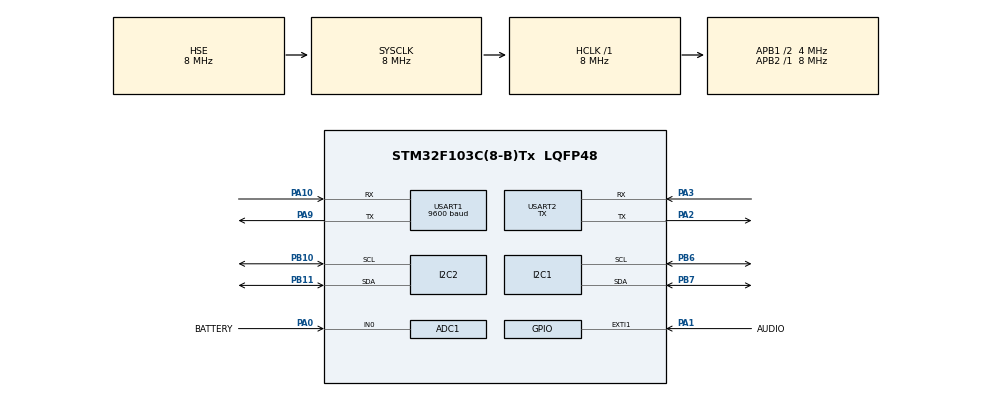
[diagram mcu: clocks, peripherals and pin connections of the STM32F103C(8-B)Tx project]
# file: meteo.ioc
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ADC1.ContinuousConvMode=DISABLE
ADC1.DataAlign=ADC_DATAALIGN_RIGHT
ADC1.DiscontinuousConvMode=DISABLE
ADC1.EnableRegularConversion=DISABLE
ADC1.InjNumberOfConversion=0
ADC1.ScanConvMode=ADC_SCAN_DISABLE
ADC1.master=1
Dma.I2C1_TX.0.Direction=DMA_MEMORY_TO_PERIPH
Dma.I2C1_TX.0.Instance=DMA1_Channel6
Dma.I2C1_TX.0.MemDataAlignment=DMA_MDATAALIGN_BYTE
Dma.I2C1_TX.0.MemInc=DMA_MINC_ENABLE
Dma.I2C1_TX.0.Mode=DMA_NORMAL
Dma.I2C1_TX.0.PeriphDataAlignment=DMA_PDATAALIGN_BYTE
Dma.I2C1_TX.0.PeriphInc=DMA_PINC_DISABLE
Dma.I2C1_TX.0.Priority=DMA_PRIORITY_VERY_HIGH
Dma.I2C2_TX.1.Direction=DMA_MEMORY_TO_PERIPH
Dma.I2C2_TX.1.Instance=DMA1_Channel4
Dma.I2C2_TX.1.MemDataAlignment=DMA_MDATAALIGN_BYTE
Dma.I2C2_TX.1.MemInc=DMA_MINC_ENABLE
Dma.I2C2_TX.1.Mode=DMA_NORMAL
Dma.I2C2_TX.1.PeriphDataAlignment=DMA_PDATAALIGN_BYTE
Dma.I2C2_TX.1.PeriphInc=DMA_PINC_DISABLE
Dma.I2C2_TX.1.Priority=DMA_PRIORITY_VERY_HIGH
Dma.Request0=I2C1_TX
Dma.Request1=I2C2_TX
I2C1.I2C_Mode=I2C_Fast
I2C2.I2C_Mode=I2C_Standard
IWDG.Prescaler=IWDG_PRESCALER_256
Mcu.Family=STM32F1
Mcu.Name=STM32F103C(8-B)Tx
Mcu.Package=LQFP48
NVIC.DMA1_Channel4_IRQn=true\:1\:0\:true\:false\:true
NVIC.DMA1_Channel6_IRQn=true\:1\:0\:true\:false\:true
NVIC.EXTI1_IRQn=true\:3\:0\:true\:false\:true
NVIC.PriorityGroup=NVIC_PRIORITYGROUP_2
NVIC.RTC_Alarm_IRQn=true\:0\:0\:false\:false\:true
PA0-WKUP.GPIO_Label=BATTERY
PA0-WKUP.Signal=ADCx_IN0
PA1.GPIO_Label=AUDIO
PA1.GPIO_ModeDefaultEXTI=GPIO_MODE_IT_RISING
PA1.GPIO_PuPd=GPIO_PULLDOWN
PA1.Signal=GPXTI1
PA10.Mode=Asynchronous
PA10.Signal=USART1_RX
PA13.Mode=Serial_Wire
PA13.Signal=SYS_JTMS-SWDIO
PA14.Mode=Serial_Wire
PA14.Signal=SYS_JTCK-SWCLK
PA2.Mode=Asynchronous
PA2.Signal=USART2_TX
PA3.Mode=Asynchronous
PA3.Signal=USART2_RX
PA9.Mode=Asynchronous
PA9.Signal=USART1_TX
PB10.Mode=I2C
PB10.Signal=I2C2_SCL
PB11.Mode=I2C
PB11.Signal=I2C2_SDA
PB6.Mode=I2C
PB6.Signal=I2C1_SCL
PB7.Mode=I2C
PB7.Signal=I2C1_SDA
PD0-OSC_IN.Mode=HSE-External-Oscillator
PD0-OSC_IN.Signal=RCC_OSC_IN
PD1-OSC_OUT.Mode=HSE-External-Oscillator
PD1-OSC_OUT.Signal=RCC_OSC_OUT
ProjectManager.HeapSize=0x200
ProjectManager.StackSize=0x400
ProjectManager.TargetToolchain=SW4STM32
RCC.ADCPresc=RCC_ADCPCLK2_DIV8
RCC.AHBFreq_Value=8000000
RCC.APB1CLKDivider=RCC_HCLK_DIV2
RCC.APB1Freq_Value=4000000
RCC.APB1TimFreq_Value=8000000
RCC.APB2Freq_Value=8000000
RCC.APB2TimFreq_Value=8000000
RCC.HCLKFreq_Value=8000000
RCC.HSIState=RCC_HSI_ON
RCC.PLLSourceVirtual=RCC_PLLSOURCE_HSE
RCC.RTCClockSelection=RCC_RTCCLKSOURCE_HSE_DIV128
RCC.SYSCLKFreq_VALUE=8000000
RCC.SYSCLKSource=RCC_SYSCLKSOURCE_HSE
RCC.USBFreq_Value=16000000
SH.ADCx_IN0.0=ADC1_IN0,IN0
USART1.BaudRate=9600
USART1.Mode=MODE_TX_RX
USART2.Mode=MODE_TX
VP_IWDG_VS_IWDG.Mode=IWDG_Activate
VP_RTC_No_RTC_Output.Mode=RTC_OUT_NO
VP_RTC_VS_RTC_Activate.Mode=RTC_Enabled
VP_RTC_VS_RTC_Calendar.Mode=RTC_Calendar
board=meteo

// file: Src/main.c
/**
  ******************************************************************************
  * File Name          : main.c
  * Description        : Main program body
  ******************************************************************************
  *
  * COPYRIGHT(c) 2016 STMicroelectronics
  *
  * Redistribution and use in source and binary forms, with or without modification,
  * are permitted provided that the following conditions are met:
  *   1. Redistributions of source code must retain the above copyright notice,
  *      this list of conditions and the following disclaimer.
  *   2. Redistributions in binary form must reproduce the above copyright notice,
  *      this list of conditions and the following disclaimer in the documentation
  *      and/or other materials provided with the distribution.
  *   3. Neither the name of STMicroelectronics nor the names of its contributors
  *      may be used to endorse or promote products derived from this software
  *      without specific prior written permission.
  *
  * THIS SOFTWARE IS PROVIDED BY THE COPYRIGHT HOLDERS AND CONTRIBUTORS "AS IS"
  * AND ANY EXPRESS OR IMPLIED WARRANTIES, INCLUDING, BUT NOT LIMITED TO, THE
  * IMPLIED WARRANTIES OF MERCHANTABILITY AND FITNESS FOR A PARTICULAR PURPOSE ARE
  * DISCLAIMED. IN NO EVENT SHALL THE COPYRIGHT HOLDER OR CONTRIBUTORS BE LIABLE
  * FOR ANY DIRECT, INDIRECT, INCIDENTAL, SPECIAL, EXEMPLARY, OR CONSEQUENTIAL
  * DAMAGES (INCLUDING, BUT NOT LIMITED TO, PROCUREMENT OF SUBSTITUTE GOODS OR
  * SERVICES; LOSS OF USE, DATA, OR PROFITS; OR BUSINESS INTERRUPTION) HOWEVER
  * CAUSED AND ON ANY THEORY OF LIABILITY, WHETHER IN CONTRACT, STRICT LIABILITY,
  * OR TORT (INCLUDING NEGLIGENCE OR OTHERWISE) ARISING IN ANY WAY OUT OF THE USE
  * OF THIS SOFTWARE, EVEN IF ADVISED OF THE POSSIBILITY OF SUCH DAMAGE.
  *
  ******************************************************************************
  */
#include "main.h"
#include "stm32f1xx_hal.h"
#include "adc.h"
#include "dma.h"
#include "i2c.h"
#include "iwdg.h"
#include "rtc.h"
#include "usart.h"
#include "gpio.h"

/* USER CODE BEGIN Includes */

#include <math.h>
#include "ssd1306/ssd1306.h"
#include "ssd1306/fonts.h"
#include "ssd1306/images.h"
#include "BMP280/bmp280.h"
#include "HTU21/htu21.h"
#include "MHZ19/mhz19.h"

/* USER CODE END Includes */

/* USER CODE BEGIN PV */
/* Private variables ---------------------------------------------------------*/
#define slog(msg) \
		{ /*printf("info: %s\n", msg);*/ }

#define elog(msg) \
		{ printf("error: %s\n", msg); }

#define NELEMS(x)  (sizeof(x) / sizeof((x)[0]))
#define MIN(a,b)   (((a)<(b))?(a):(b))
#define MAX(a,b)   (((a)>(b))?(a):(b))
#define PA2mmHG(p) (((float) (p) * 760 / 101325))

#define BUFF_LEN          (32)

#define MAIN_LOOP_DELAY           (2)

#define SHOW_LOGO_DELAY           (4)
#define SHOW_MEASUREMENTS_DELAY   (8)
#define SHOW_BATTERY_STATUS_DELAY (2)

#define MEASUREMENTS_ACTIVE_DELAY (2)
#define MEASUREMENTS_SLEEP_DELAY  (20)

#define STATE_ACTIVE_DELAY        (30)
#define STATE_SLEEP_DELAY         (10*60)

#define HIDE_SCREEN_DELAY         (20)

// Max ADC value ~ voltage
#define ADC_TO_VOLTAGE_BASE (4.95f)
#define BATTERY_MAX_VOLTAGE (4.1f)
#define BATTERY_MIN_VOLTAGE (2.8f)

// Segments
#define LED_SEGMENT_WIDTH (SSD1306_WIDTH / 2)

struct bmp280_t BMP280;

char buffer[BUFF_LEN] = {};

int audio_activation = 0;

typedef enum { ACTIVE, SLEEP } State;
typedef enum { LOGO, MEASUREMENTS, BATTERY, HIDE } Screen;

/* USER CODE END PV */

void SystemClock_Config(void);
void Error_Handler(void);

/* USER CODE BEGIN PFP */
/* Private function prototypes -----------------------------------------------*/

/*	\Brief: The function is used as I2C bus read
 *	\Return : Status of the I2C read
 *	\param dev_addr : The device address of the sensor
 *	\param reg_addr : Address of the first register, where data is going to be read
 *	\param reg_data : This is the data read from the sensor, which is held in an array
 *	\param cnt : The no of bytes of data to be read
 */
s8 BMP280_I2C_bus_read(u8 dev_addr, u8 reg_addr, u8 *reg_data, u8 cnt);
 /*	\Brief: The function is used as I2C bus write
 *	\Return : Status of the I2C write
 *	\param dev_addr : The device address of the sensor
 *	\param reg_addr : Address of the first register, where data is to be written
 *	\param reg_data : It is a value held in the array,
 *		which is written in the register
 *	\param cnt : The no of bytes of data to be written
 */
s8 BMP280_I2C_bus_write(u8 dev_addr, u8 reg_addr, u8 *reg_data, u8 cnt);

/*
 * \Brief: SPI/I2C init routine
*/
s8 I2C_routine(void);

/*	Brief : The delay routine
 *	\param : delay in ms
*/
void BMP280_delay_msek(u32 msek);

/* USER CODE END PFP */

/* USER CODE BEGIN 0 */
void HAL_GPIO_EXTI_Callback(uint16_t GPIO_Pin){
	if(GPIO_Pin == AUDIO_Pin){
		audio_activation++;
	}
}

void HAL_RTC_AlarmAEventCallback(RTC_HandleTypeDef *hrtc)
{
	HAL_RTC_DeactivateAlarm(hrtc, RTC_ALARM_A);
}

uint32_t RTC_To_Timestamp(RTC_TimeTypeDef *time) {
	/* Convert time in seconds */
	return (uint32_t)(((uint32_t)time->Hours * 3600) +
			((uint32_t)time->Minutes * 60) +
			((uint32_t)time->Seconds));
}

void Timestamp_To_RTC(uint32_t timestamp, RTC_TimeTypeDef *time) {
	/* Fill the structure fields with the read parameters */
	time->Hours = timestamp / 3600;
	time->Minutes  = (uint8_t)((timestamp % 3600) / 60);
	time->Seconds  = (uint8_t)((timestamp % 3600) % 60);
}

uint32_t RTC_GetTimestamp() {
	RTC_TimeTypeDef time;
	if (HAL_RTC_GetTime(&hrtc, &time, RTC_FORMAT_BIN) != HAL_OK) {
		return 0;
	}

	return RTC_To_Timestamp(&time);
}

void sleep(uint32_t delay) {
	RTC_AlarmTypeDef alarm;
	alarm.Alarm = RTC_ALARM_A;

	Timestamp_To_RTC(RTC_GetTimestamp() + delay - 1, &alarm.AlarmTime);

	if (HAL_RTC_SetAlarm_IT(&hrtc, &alarm, FORMAT_BIN) == HAL_OK) {
		HAL_SuspendTick();
		HAL_PWR_EnterSLEEPMode(PWR_MAINREGULATOR_ON, PWR_SLEEPENTRY_WFI);
		HAL_ResumeTick();
	} else {
		HAL_Delay(delay * 1000);
	}
}

float getBatteryVoltage() {

	if (HAL_ADC_Start(&hadc1) != HAL_OK) {
		elog("ADC start fail");

		return 0.0;
	}

	if (HAL_ADC_PollForConversion(&hadc1, 100) != HAL_OK) {
		elog("ADC poll for conversion fail");
	}

	uint32_t value = HAL_ADC_GetValue(&hadc1);

	if (HAL_ADC_Stop(&hadc1) != HAL_OK) {
		elog("ADC stop fail");
	}

	// (0 to 4095) 0x00 ... 0x0FFF
//	printf("ADC1: (0 to 4095)  %lu \n", value);

	return (float) ADC_TO_VOLTAGE_BASE * value / 0x0FFF;
}

int getBatteryCharge(float voltage) {

	int charge = rintf((voltage - BATTERY_MIN_VOLTAGE) * 100.0f / (BATTERY_MAX_VOLTAGE - BATTERY_MIN_VOLTAGE));

	if (charge > 100) {
		charge = 100;
	} else if (charge < 0) {
		charge = 0;
	}

	return charge;
}

void showLogo() {
	slog("Show logo");

	SSD1306_Fill(SSD1306_COLOR_BLACK);

	ssd1306_image(logo, 0, 0, 0);

	SSD1306_UpdateScreen();
}

void showBatteryCharge(int charge) {
	slog("Show battery charge");

	SSD1306_Fill(SSD1306_COLOR_BLACK);

	ssd1306_image(battery, 0, 0, 0);

	for (int i = 0; i < charge / 10; i++) {
		ssd1306_image(battery_point, 0, 16 + i * 9, 13);
	}

	snprintf(buffer, BUFF_LEN, "%d%%", charge);
	int messageWidth = strlen(buffer) * Font_10x16.FontWidth;

	int shiftX = (SSD1306_WIDTH - messageWidth * 1.2) / 2;
	int shiftY = (SSD1306_HEIGHT - Font_10x16.FontHeight * 1.2) / 2;
	SSD1306_DrawFilledRectangle(shiftX, shiftY,
			messageWidth * 1.2, Font_10x16.FontHeight * 1.2, SSD1306_COLOR_BLACK);

	shiftX = (SSD1306_WIDTH - messageWidth) / 2;
	shiftY = (SSD1306_HEIGHT - Font_10x16.FontHeight) / 2;
	SSD1306_GotoXY(shiftX, shiftY);
	SSD1306_Puts(buffer, &Font_10x16, SSD1306_COLOR_WHITE);

	SSD1306_UpdateScreen();
}

void showMeasurements(float temperature, float humidity, float pressure, uint16_t co2_ppm) {
	slog("Show measurements");

	SSD1306_Fill(SSD1306_COLOR_BLACK);

	SSD1306_GotoXY(0, Font_7x10.FontHeight * 0);
	SSD1306_Puts("   темп    волог", &Font_7x10, SSD1306_COLOR_WHITE);

	snprintf(buffer, BUFF_LEN, "%.1f%cС", temperature, 176);
	int shift = (LED_SEGMENT_WIDTH - strlen(buffer) * Font_10x16.FontWidth) / 2;
	SSD1306_GotoXY(shift, Font_7x10.FontHeight * 1 + 3);
	SSD1306_Puts(buffer, &Font_10x16, SSD1306_COLOR_WHITE);

	snprintf(buffer, BUFF_LEN, "%.1f%%", humidity);
	shift = (LED_SEGMENT_WIDTH - strlen(buffer) * Font_10x16.FontWidth) / 2;
	SSD1306_GotoXY(shift + LED_SEGMENT_WIDTH, Font_7x10.FontHeight * 1 + 3);
	SSD1306_Puts(buffer, &Font_10x16, SSD1306_COLOR_WHITE);

	char *header1 = "   тиск   CO";
	char *header2 = " ppm";
	SSD1306_GotoXY(0, Font_7x10.FontHeight * 3 + 3);
	SSD1306_Puts(header1, &Font_7x10, SSD1306_COLOR_WHITE);
	SSD1306_Puts(header2, &Font_7x10, SSD1306_COLOR_WHITE);
	SSD1306_GotoXY(Font_7x10.FontWidth * strlen(header1), Font_7x10.FontHeight * 3 + Font_4x6.FontHeight / 2 + 3);
	SSD1306_Puts("2 ", &Font_4x6, SSD1306_COLOR_WHITE);

	snprintf(buffer, BUFF_LEN, "%.1f", PA2mmHG(pressure));
	shift = (LED_SEGMENT_WIDTH - strlen(buffer) * Font_10x16.FontWidth) / 2;
	SSD1306_GotoXY(shift, Font_7x10.FontHeight * 4 + 6);
	SSD1306_Puts(buffer, &Font_10x16, SSD1306_COLOR_WHITE);

	snprintf(buffer, BUFF_LEN, "%d", co2_ppm);
	shift = (LED_SEGMENT_WIDTH - strlen(buffer) * Font_10x16.FontWidth) / 2;
	SSD1306_GotoXY(shift + LED_SEGMENT_WIDTH, Font_7x10.FontHeight * 4 + 6);
	SSD1306_Puts(buffer, &Font_10x16, SSD1306_COLOR_WHITE);

	SSD1306_UpdateScreen();
}

void updateMeasurements(float *temperature, float *humidity, float *pressure, uint16_t *co2_ppm) {
	slog("Update measurements");

	if (htu21_temperature(temperature) != 0) {
		elog("HTU21 read temperature failed");
	}
	if (htu21_humidity(humidity) != 0) {
		elog("HTU21 read humidity failed");
	}

	s32 temp;
	if (bmp280_read_uncomp_pressure(&temp) != 0) {
		elog("BMP280 read uncomp pressure failed");
	}
	*pressure = bmp280_compensate_pressure_double(temp);

	if (mhz19_get(co2_ppm) != 0) {
		elog("MHT19 get gas concentration failed");
	}
}

void setScreenState(Screen screen) {

}

/* USER CODE END 0 */

int main(void)
{

  /* MCU Configuration----------------------------------------------------------*/

  /* Reset of all peripherals, Initializes the Flash interface and the Systick. */
  HAL_Init();

  /* Configure the system clock */
  SystemClock_Config();

  /* Initialize all configured peripherals */
  MX_GPIO_Init();
  MX_DMA_Init();
  MX_I2C1_Init();
  MX_USART1_UART_Init();
  MX_I2C2_Init();
  MX_USART2_UART_Init();
  MX_RTC_Init();
  MX_IWDG_Init();
  MX_ADC1_Init();

  /* USER CODE BEGIN 2 */
	/**
	* SSD1306
	*/
	SSD1306_Init();

	/**
	* HTU21
	*/
	float humidity = 0.0f;
	float temperature = 0.0f;

	if (htu21_reset() != 0) {
		elog("HTU21 reset fail");
	}

	/**
	* BMP280
	*/
	float pressure = 0.0f;

	I2C_routine();

	bmp280_set_soft_rst();

	if (bmp280_init(&BMP280) != 0) {
		elog("BMP280 init failed");
	}

	/*	For initialization it is required to set the mode of
	 *	the sensor as "NORMAL"
	 *	data acquisition/read/write is possible in this mode
	 *	by using the below API able to set the power mode as NORMAL*/
	/* Set the power mode as NORMAL*/
	if (bmp280_set_power_mode(BMP280_NORMAL_MODE) != 0) {
		elog("BMP280 set NORMAL mode failed");
	}

	/*	For reading the pressure and temperature data it is required to
	 *	set the work mode
	 *	The measurement period in the Normal mode is depends on the setting of
	 *	over sampling setting of pressure, temperature and standby time
	 *
	 *	OSS				pressure OSS	temperature OSS
	 *	ultra low power			x1			x1
	 *	low power			x2			x1
	 *	standard resolution		x4			x1
	 *	high resolution			x8			x2
	 *	ultra high resolution		x16			x2
	 */
	/* The oversampling settings are set by using the following API*/
	if (bmp280_set_work_mode(BMP280_ULTRA_HIGH_RESOLUTION_MODE) != 0) {
		elog("BMP280 ULTRA_HIGH_RESOLUTION work mode failed");
	}

	HAL_Delay(100);

	if (bmp280_set_work_mode(BMP280_STANDARD_RESOLUTION_MODE) != 0) {
		elog("BMP280 STANDARD_RESOLUTION work mode failed");
	}

	/**
	 * MH-Z19
	 */
	uint16_t co2_ppm = 0;

	/**
	* ADC (battery)
	*/
	if (HAL_ADCEx_Calibration_Start(&hadc1) != HAL_OK) {
		elog("ADC calibration fail");
	}

	printf("Battery voltage: %1.2fv \n", getBatteryVoltage());

	/**
	 * For battery voltage calibration
	 */
//	while(1) {
//		float voltage = getBatteryVoltage();
//
//		printf("Battery voltage: %1.2fv \n", voltage);
//
//		HAL_Delay(200);
//	}

	/**
	 * Watch DOG
	 */
	HAL_IWDG_Start(&hiwdg);

  /* USER CODE END 2 */

  /* Infinite loop */
  /* USER CODE BEGIN WHILE */

	State state = ACTIVE;
	Screen screen = LOGO;

	uint32_t nextScreenUpdateTimestamp = RTC_GetTimestamp() + SHOW_LOGO_DELAY;
	uint32_t nextMeasurementTimestamp = 0;
	uint32_t nextStateUpdateTimestamp = RTC_GetTimestamp() + STATE_ACTIVE_DELAY;

	int screen_is_on = 0;
	audio_activation = 0;

  while (1)
  {
  /* USER CODE END WHILE */

  /* USER CODE BEGIN 3 */
//    printf("\n[%d] %lu %lu\n", __LINE__, HAL_GetTick(), RTC_GetTimestamp());

    uint32_t timestamp = RTC_GetTimestamp();

    /**
     * State
     */
	if (audio_activation) {
		slog("Audio activation");

		audio_activation = 0;

		state = ACTIVE;
		nextStateUpdateTimestamp = timestamp + STATE_ACTIVE_DELAY;

		if (screen == HIDE) {
			screen = MEASUREMENTS;
			nextScreenUpdateTimestamp = timestamp + SHOW_MEASUREMENTS_DELAY;
			nextMeasurementTimestamp = 0;
		}
	}

    if (timestamp >= nextStateUpdateTimestamp) {
		switch(state) {
		case ACTIVE:
			slog("Time to go sleep");

			state = SLEEP;
			screen = HIDE;
			nextStateUpdateTimestamp = timestamp + STATE_SLEEP_DELAY;
			break;

		case SLEEP:
			slog("Time to show me");

			state = ACTIVE;
			nextStateUpdateTimestamp = timestamp + STATE_ACTIVE_DELAY;

			if (screen == HIDE) {
				screen = MEASUREMENTS;
				nextScreenUpdateTimestamp = timestamp + SHOW_MEASUREMENTS_DELAY;
			}
			break;
		}
    }

    /**
     * Measurements
     */
    if (timestamp >= nextMeasurementTimestamp) {
    	updateMeasurements(&temperature, &humidity, &pressure, &co2_ppm);

    	printf("%lu;%.1f;%.1f;%.1f;%d;\n",
    			timestamp, temperature, humidity, PA2mmHG(pressure), co2_ppm);

		switch(state) {
		case ACTIVE:
			nextMeasurementTimestamp = timestamp + MEASUREMENTS_ACTIVE_DELAY;
			break;

		case SLEEP:
			nextMeasurementTimestamp = timestamp + MEASUREMENTS_SLEEP_DELAY;
			break;
		}
    }

    /**
     * Screen
     */
    if (timestamp >= nextScreenUpdateTimestamp) {
    	switch (screen) {
    	case LOGO:
    		screen = MEASUREMENTS;
    		nextScreenUpdateTimestamp = timestamp + SHOW_MEASUREMENTS_DELAY;
    		break;

    	case MEASUREMENTS:
    		screen = BATTERY;
    		nextScreenUpdateTimestamp = timestamp + SHOW_BATTERY_STATUS_DELAY;
    		break;

    	case BATTERY:
    		screen = MEASUREMENTS;
    		nextScreenUpdateTimestamp = timestamp + SHOW_MEASUREMENTS_DELAY;
    		break;

    	case HIDE:
    		nextScreenUpdateTimestamp = UINT32_MAX;
    		break;
    	}
    }

	switch (screen) {
	case LOGO:
	case MEASUREMENTS:
	case BATTERY:
		if (!screen_is_on) {
			SSD1306_ON();
			screen_is_on = 1;
		}
		break;

	case HIDE:
		if (screen_is_on) {
			SSD1306_OFF();
			screen_is_on = 0;
		}
		break;
	}

	switch (screen) {
	case LOGO:
		showLogo();
		break;

	case MEASUREMENTS:
		showMeasurements(temperature, humidity, pressure, co2_ppm);
		break;

	case BATTERY:
		showBatteryCharge(getBatteryCharge(getBatteryVoltage()));
		break;

	default:
		break;
	}

//	printf("[%d] M:%lu (%lu) S:%lu (%lu)  T:%lu  Sleep: (%lu) \n", __LINE__,
//			nextMeasurementTimestamp, nextMeasurementTimestamp - timestamp,
//			nextScreenUpdateTimestamp, nextScreenUpdateTimestamp - timestamp,
//			timestamp, MIN(nextMeasurementTimestamp, nextScreenUpdateTimestamp) - timestamp );

	HAL_IWDG_Refresh(&hiwdg);
	sleep( (MIN(nextMeasurementTimestamp, nextScreenUpdateTimestamp) - timestamp) );
	HAL_IWDG_Refresh(&hiwdg);
  }
  /* USER CODE END 3 */

}

/** System Clock Configuration
*/
void SystemClock_Config(void)
{

  RCC_OscInitTypeDef RCC_OscInitStruct;
  RCC_ClkInitTypeDef RCC_ClkInitStruct;
  RCC_PeriphCLKInitTypeDef PeriphClkInit;

    /**Initializes the CPU, AHB and APB busses clocks
    */
  RCC_OscInitStruct.OscillatorType = RCC_OSCILLATORTYPE_LSI|RCC_OSCILLATORTYPE_HSE;
  RCC_OscInitStruct.HSEState = RCC_HSE_ON;
  RCC_OscInitStruct.LSIState = RCC_LSI_ON;
  RCC_OscInitStruct.PLL.PLLState = RCC_PLL_NONE;
  if (HAL_RCC_OscConfig(&RCC_OscInitStruct) != HAL_OK)
  {
    Error_Handler();
  }

    /**Initializes the CPU, AHB and APB busses clocks
    */
  RCC_ClkInitStruct.ClockType = RCC_CLOCKTYPE_HCLK|RCC_CLOCKTYPE_SYSCLK
                              |RCC_CLOCKTYPE_PCLK1|RCC_CLOCKTYPE_PCLK2;
  RCC_ClkInitStruct.SYSCLKSource = RCC_SYSCLKSOURCE_HSE;
  RCC_ClkInitStruct.AHBCLKDivider = RCC_SYSCLK_DIV1;
  RCC_ClkInitStruct.APB1CLKDivider = RCC_HCLK_DIV2;
  RCC_ClkInitStruct.APB2CLKDivider = RCC_HCLK_DIV1;

  if (HAL_RCC_ClockConfig(&RCC_ClkInitStruct, FLASH_LATENCY_0) != HAL_OK)
  {
    Error_Handler();
  }

  PeriphClkInit.PeriphClockSelection = RCC_PERIPHCLK_RTC|RCC_PERIPHCLK_ADC;
  PeriphClkInit.RTCClockSelection = RCC_RTCCLKSOURCE_HSE_DIV128;
  PeriphClkInit.AdcClockSelection = RCC_ADCPCLK2_DIV8;
  if (HAL_RCCEx_PeriphCLKConfig(&PeriphClkInit) != HAL_OK)
  {
    Error_Handler();
  }

    /**Configure the Systick interrupt time
    */
  HAL_SYSTICK_Config(HAL_RCC_GetHCLKFreq()/1000);

    /**Configure the Systick
    */
  HAL_SYSTICK_CLKSourceConfig(SYSTICK_CLKSOURCE_HCLK);

  /* SysTick_IRQn interrupt configuration */
  HAL_NVIC_SetPriority(SysTick_IRQn, 0, 0);
}

/* USER CODE BEGIN 4 */
void __io_putchar(uint8_t ch) {
	/**
	 * \brief		__io_putchar - A routine to transmit a single character out the serial port
	 * \return		void
	 * \param[in]	ch - uint8_t the character to transmit
	 * \author		andreichichak
	 * \date		Oct 16, 2015
	 * \details		This routine assumes that we will be using UART2. A timeout value of 1ms (4th parameter)
	 * 				gives a retry if the transmit buffer is full when back to back characters are transmitted,
	 * 				avoiding dropping characters.
	 */

	HAL_UART_Transmit(&huart2, &ch, 1, 1);
}

/*--------------------------------------------------------------------------*
*	The following function is used to map the I2C bus read, write, delay and
*	device address with global structure bmp280_t
*-------------------------------------------------------------------------*/
s8 I2C_routine(void) {
/*--------------------------------------------------------------------------*
 *  By using bmp280 the following structure parameter can be accessed
 *	Bus write function pointer: BMP280_WR_FUNC_PTR
 *	Bus read function pointer: BMP280_RD_FUNC_PTR
 *	Delay function pointer: delay_msec
 *	I2C address: dev_addr
 *--------------------------------------------------------------------------*/
	BMP280.bus_write  = BMP280_I2C_bus_write;
	BMP280.bus_read   = BMP280_I2C_bus_read;
	BMP280.dev_addr   = (BMP280_I2C_ADDRESS1 << 1);
	BMP280.delay_msec = BMP280_delay_msek;

	return BMP280_INIT_VALUE;
}

#define	I2C_BUFFER_LEN 8
#define BMP280_DATA_INDEX	1

/*	\Brief: The function is used as I2C bus write
*	\Return : Status of the I2C write
*	\param dev_addr : The device address of the sensor
*	\param reg_addr : Address of the first register, where data is to be written
*	\param reg_data : It is a value held in the array,
*		which is written in the register
*	\param cnt : The no of bytes of data to be written
*/
s8  BMP280_I2C_bus_write(u8 dev_addr, u8 reg_addr, u8 *reg_data, u8 cnt)
{
	s32 iError = BMP280_INIT_VALUE;

	/*
	* Please take the below function as your reference for
	* write the data using I2C communication
	* "IERROR = I2C_WRITE_STRING(DEV_ADDR, ARRAY, CNT+1)"
	* add your I2C write function here
	* iError is an return value of I2C read function
	* Please select your valid return value
	* In the driver SUCCESS defined as BMP280_INIT_VALUE
	* and FAILURE defined as -1
	* Note :
	* This is a full duplex operation,
	* The first read data is discarded, for that extra write operation
	* have to be initiated.Thus cnt+1 operation done in the I2C write string function
	* For more information please refer data sheet SPI communication:
	*/

	if (HAL_I2C_Mem_Write(&hi2c2, dev_addr, reg_addr, I2C_MEMADD_SIZE_8BIT, reg_data, cnt, 200) != HAL_OK) {
		iError = ERROR;
	}

	return (s8)iError;
}

/*	\Brief: The function is used as I2C bus read
*	\Return : Status of the I2C read
*	\param dev_addr : The device address of the sensor
*	\param reg_addr : Address of the first register, where data is going to be read
*	\param reg_data : This is the data read from the sensor, which is held in an array
*	\param cnt : The no of data to be read
*/
s8  BMP280_I2C_bus_read(u8 dev_addr, u8 reg_addr, u8 *reg_data, u8 cnt)
{
	s32 iError = BMP280_INIT_VALUE;

	/* Please take the below function as your reference
	 * to read the data using I2C communication
	 * add your I2C rad function here.
	 * "IERROR = I2C_WRITE_READ_STRING(DEV_ADDR, ARRAY, ARRAY, 1, CNT)"
	 * iError is an return value of SPI write function
	 * Please select your valid return value
	 * In the driver SUCCESS defined as BMP280_INIT_VALUE
	 * and FAILURE defined as -1
	 */

	if (HAL_I2C_Mem_Read(&hi2c2, dev_addr, reg_addr, I2C_MEMADD_SIZE_8BIT, reg_data, cnt, 200) != HAL_OK) {
		iError = ERROR;
	}

	return (s8)iError;
}

/*	Brief : The delay routine
*	\param : delay in ms
*/
void  BMP280_delay_msek(u32 msek) {
	HAL_Delay(msek);
}
/* USER CODE END 4 */

void Error_Handler(void)
{
  while(1)
  {
  }
}

/************************ (C) COPYRIGHT STMicroelectronics *****END OF FILE****/
